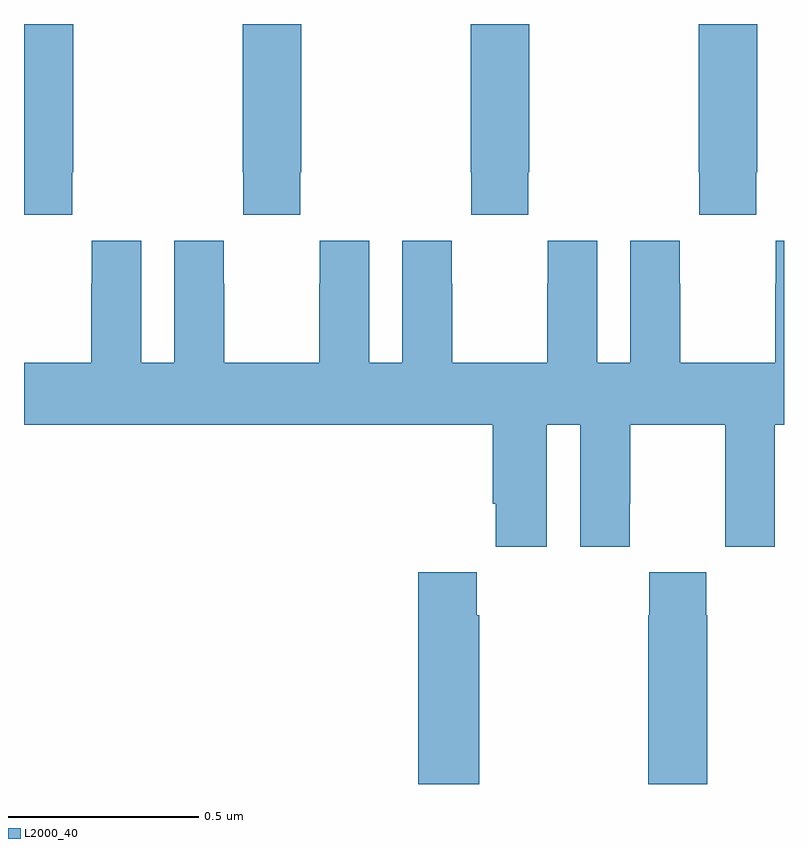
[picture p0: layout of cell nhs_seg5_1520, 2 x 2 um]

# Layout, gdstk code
import gdstk
lib = gdstk.Library(unit=1e-6, precision=1e-09)
def P(c, l, *ps):  # polygons
    for p in ps: c.add(gdstk.Polygon(p, *l))
L2000_40 = (2000, 40)

nhs_seg5_1520 = lib.new_cell('nhs_seg5_1520')
P(nhs_seg5_1520, L2000_40, [(131.127,873.409),(131.13,873.409),(131.13,873.799),(131,873.799),(131,873.297),(131.127,873.297)],
  [(131.727,873.409),(131.73,873.409),(131.73,873.799),(131.575,873.799),(131.575,873.409),(131.577,873.409),(131.577,873.297),(131.727,873.297)],
  [(132.327,873.409),(132.33,873.409),(132.33,873.799),(132.175,873.799),(132.175,873.409),(132.177,873.409),(132.177,873.297),(132.327,873.297)],
  [(132.927,873.409),(132.93,873.409),(132.93,873.799),(132.775,873.799),(132.775,873.409),(132.777,873.409),(132.777,873.297),(132.927,873.297)],
  [(132.376,872.744),(132.464,872.744),(132.464,872.424),(132.594,872.424),(132.594,872.536),(132.595,872.536),(132.595,872.744),(132.845,872.744),(132.845,872.536),(132.846,872.536),(132.846,872.424),(132.976,872.424),(132.976,872.744),(133,872.744),(133,873.229),(132.978,873.229),(132.978,873.116),(132.977,873.116),(132.977,872.908),(132.727,872.908),(132.727,873.116),(132.726,873.116),(132.726,873.229),(132.596,873.229),(132.596,872.908),(132.508,872.908),(132.508,873.229),(132.378,873.229),(132.378,873.116),(132.377,873.116),(132.377,872.908),(132.127,872.908),(132.127,873.116),(132.126,873.116),(132.126,873.229),(131.996,873.229),(131.996,872.908),(131.908,872.908),(131.908,873.229),(131.778,873.229),(131.778,873.116),(131.777,873.116),(131.777,872.908),(131.527,872.908),(131.527,873.116),(131.526,873.116),(131.526,873.229),(131.396,873.229),(131.396,872.908),(131.308,872.908),(131.308,873.229),(131.178,873.229),(131.178,873.116),(131.177,873.116),(131.177,872.908),(131,872.908),(131,872.744),(132.233,872.744),(132.233,872.536),(132.242,872.536),(132.242,872.424),(132.376,872.424)],
  [(132.798,872.243),(132.795,872.243),(132.795,872.356),(132.645,872.356),(132.645,872.243),(132.643,872.243),(132.643,871.799),(132.798,871.799)],
  [(132.198,872.243),(132.191,872.243),(132.191,872.356),(132.038,872.356),(132.038,871.799),(132.198,871.799)])

lib.write_gds('nhs_seg5_1520.gds')
